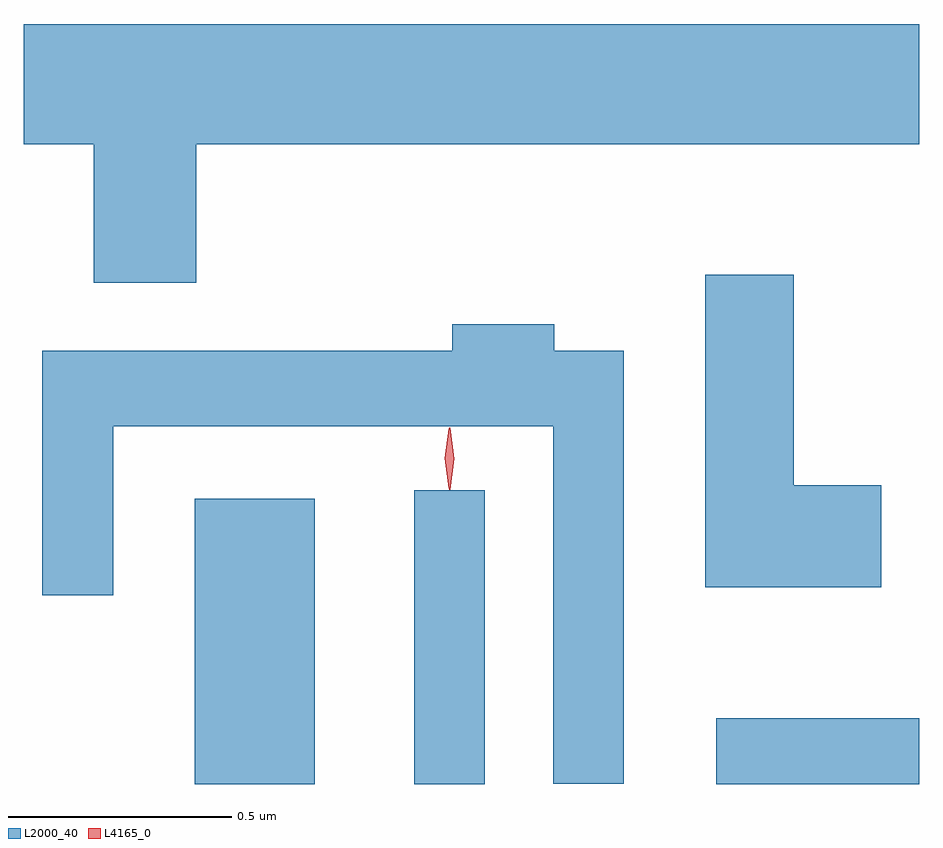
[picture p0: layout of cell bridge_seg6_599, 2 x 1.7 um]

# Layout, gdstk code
import gdstk
lib = gdstk.Library(unit=1e-6, precision=1e-09)
def R(c, l, rs):  # rectangles x0, y0, x1, y1
    for r in rs: c.add(gdstk.rectangle(r[:2], r[2:], *l))
def P(c, l, *ps):  # polygons
    for p in ps: c.add(gdstk.Polygon(p, *l))
L2000_40 = (2000, 40)
L4165_0 = (4165, 0)

bridge_seg6_599 = lib.new_cell('bridge_seg6_599')
R(bridge_seg6_599, L2000_40, [(483.886,1666.267,484.154,1666.904), (484.376,1666.267,484.534,1666.923), (485.051,1666.267,485.504,1666.414)])
P(bridge_seg6_599, L2000_40, [(483.889,1667.696),(485.504,1667.696),(485.504,1667.964),(483.504,1667.964),(483.504,1667.696),(483.661,1667.696),(483.661,1667.386),(483.889,1667.386)],
  [(485.419,1666.934),(485.224,1666.934),(485.224,1667.404),(485.026,1667.404),(485.026,1666.706),(485.419,1666.706)],
  [(484.844,1667.234),(484.689,1667.234),(484.689,1667.294),(484.461,1667.294),(484.461,1667.234),(483.546,1667.234),(483.546,1666.688),(483.704,1666.688),(483.704,1667.066),(484.686,1667.066),(484.686,1666.268),(484.844,1666.268)])
P(bridge_seg6_599, L4165_0, [(484.453,1666.927),(484.444,1666.994),(484.453,1667.06),(484.454,1667.06),(484.454,1667.06),(484.464,1666.994),(484.454,1666.927),(484.454,1666.927)],
  [(484.454,1666.924),(484.445,1666.993),(484.454,1667.062),(484.455,1667.063),(484.456,1667.062),(484.465,1666.993),(484.456,1666.924),(484.455,1666.924)])

lib.write_gds('bridge_seg6_599.gds')
